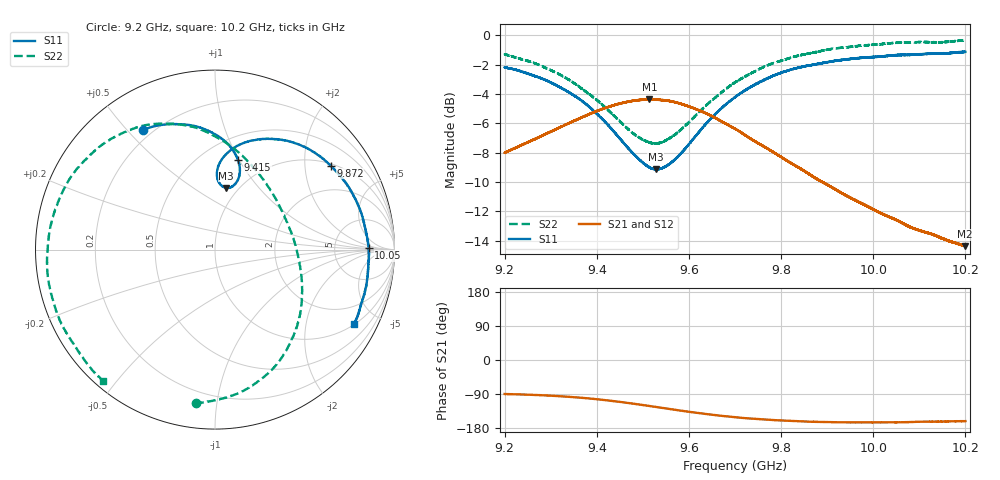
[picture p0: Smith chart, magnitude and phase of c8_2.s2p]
!Agilent Technologies,N5242A,MY51221714,A.09.90.19
!Agilent N5242A: A.09.90.19
!Date: Saturday, December 30, 2023 10:36:07
!Correction: S11(Full 2 Port(1,2))
!S21(Full 2 Port(1,2))
!S12(Full 2 Port(1,2))
!S22(Full 2 Port(1,2))
!S2P File: Measurements: S11, S21, S12, S22:
# Hz S  dB  R 50
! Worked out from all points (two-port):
!   16001 points, 9.2 GHz to 10.2 GHz, reference 50 ohm
!   highest |S21| = -4.35 dB at 9.514 GHz (marker M1); lowest = -14.4 dB at 10.2 GHz (marker M2)
!   |S21| within 3 dB of the highest: 9.244877 GHz to 9.245083 GHz (206.2 kHz wide, 0.00223 % of centre); 9.246 GHz to 9.75 GHz (504.6 MHz wide, 5.31 % of centre)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
!   lowest |S11| = -9.1 dB at 9.528 GHz (marker M3), VSWR 2.07, Z = 44 + j34.4 ohm
!   |S11| at or under -10 dB: nowhere
!   |S22| runs from -7.4 to -0.3 dB; largest |S21 - S12| = 0.0093
!   S11 on the Smith chart (normalised r, x): 9.2 GHz: 0.16, +0.55; 9.415 GHz: 0.73, +0.99; 9.872 GHz: 1.06, +2.71; 10.05 GHz: 13, +1; 10.2 GHz: 1.03, -3.75
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9.2e9  -2.18 121.1  -8.00 -89.8  -7.98 -90.6  -1.29 -97.2
9.278e9  -2.91 103.3  -6.88 -92.9  -6.87 -93.5  -2.06 -75.6
9.319688e9  -3.52 93.8  -6.26 -95.6  -6.24 -96.2  -2.67 -63.7
9.366688e9  -4.44 83.9  -5.61 -99.7  -5.58 -100.5  -3.60 -49.9
9.4145e9  -5.77 75.5  -4.98 -105.5  -4.97 -106.1  -4.81 -33.5
9.461312e9  -7.43 71.7  -4.57 -112.3  -4.56 -113.1  -6.19 -13.4
9.51425e9  -8.99 76.7  -4.35 -121.3  -4.36 -122.1  -7.31 16.3
9.528438e9  -9.14 79.8  -4.38 -123.8  -4.36 -124.6  -7.36 25.2
9.533375e9  -9.11 80.9  -4.38 -124.8  -4.38 -125.4  -7.35 28.4
9.581e9  -8.09 87.9  -4.64 -133.4  -4.64 -134.2  -6.47 55.8
9.619438e9  -6.67 87.7  -5.08 -139.8  -5.07 -140.5  -5.31 73.6
9.658875e9  -5.31 82.7  -5.65 -145.7  -5.65 -146.4  -4.19 87.6
9.7e9  -4.20 74.8  -6.36 -150.9  -6.34 -151.7  -3.21 99.7
9.780562e9  -2.78 56.7  -7.90 -158.3  -7.92 -159.1  -1.92 121.0
9.866688e9  -2.01 37.2  -9.57 -163.0  -9.56 -163.8  -1.19 142.5
9.872438e9  -1.98 36.0  -9.69 -163.1  -9.67 -163.9  -1.15 144.1
9.959375e9  -1.57 17.7  -11.21 -164.6  -11.20 -165.3  -0.74 166.2
1.003338e10  -1.39 3.0  -12.37 -164.3  -12.36 -165.1  -0.54 -174.6
1.004531e10  -1.34 0.6  -12.50 -164.3  -12.51 -165.1  -0.51 -171.6
1.011381e10  -1.26 -12.1  -13.42 -162.7  -13.40 -163.5  -0.45 -153.6
1.019894e10  -1.12 -27.7  -14.37 -161.2  -14.35 -162.1  -0.35 -130.7
1.02e10  -1.11 -28.0  -14.36 -161.3  -14.36 -162.1  -0.35 -130.5
